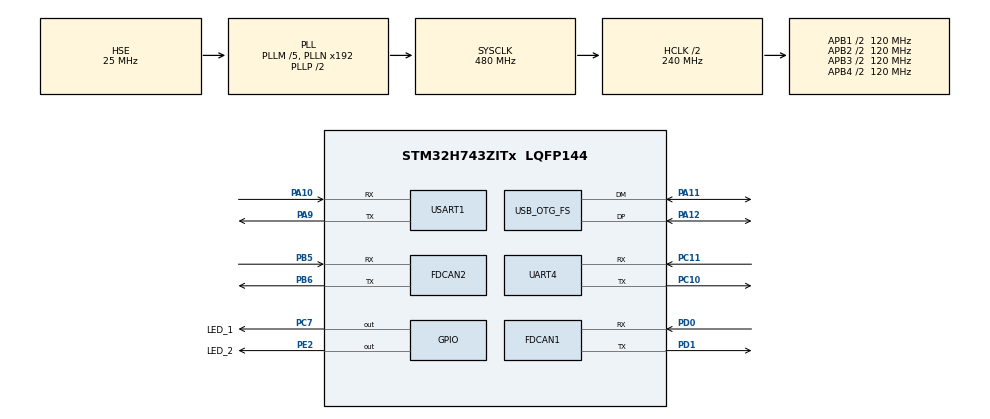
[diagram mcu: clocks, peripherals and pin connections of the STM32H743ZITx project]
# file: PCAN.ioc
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CORTEX_M7.CPU_DCache=Enabled
CORTEX_M7.CPU_ICache=Enabled
CORTEX_M7.MPU_Control=MPU_PRIVILEGED_DEFAULT
CORTEX_M7.default_mode_Activation=0
FDCAN1.CalculateBaudRateNominal=2500000
FDCAN1.CalculateTimeBitNominal=400
FDCAN1.CalculateTimeQuantumNominal=133.33333333333334
FDCAN1.TxBuffersNbr=32
FDCAN2.CalculateBaudRateNominal=2500000
FDCAN2.CalculateTimeBitNominal=400
FDCAN2.CalculateTimeQuantumNominal=133.33333333333334
FDCAN2.TxBuffersNbr=32
Mcu.Family=STM32H7
Mcu.Name=STM32H743ZITx
Mcu.Package=LQFP144
NVIC.OTG_FS_IRQn=true\:0\:0\:false\:false\:true\:false\:true\:true
NVIC.PriorityGroup=NVIC_PRIORITYGROUP_4
PA10.Mode=Asynchronous
PA10.Signal=USART1_RX
PA11.Mode=Device_Only
PA11.Signal=USB_OTG_FS_DM
PA12.Mode=Device_Only
PA12.Signal=USB_OTG_FS_DP
PA13\ (JTMS/SWDIO).Mode=Serial_Wire
PA13\ (JTMS/SWDIO).Signal=DEBUG_JTMS-SWDIO
PA14\ (JTCK/SWCLK).Mode=Serial_Wire
PA14\ (JTCK/SWCLK).Signal=DEBUG_JTCK-SWCLK
PA9.Mode=Asynchronous
PA9.Signal=USART1_TX
PB5.Mode=FDCAN_Activate
PB5.Signal=FDCAN2_RX
PB6.Mode=FDCAN_Activate
PB6.Signal=FDCAN2_TX
PC10.Mode=Asynchronous
PC10.Signal=UART4_TX
PC11.Mode=Asynchronous
PC11.Signal=UART4_RX
PC7.GPIO_Label=LED_1
PC7.Signal=GPIO_Output
PD0.Mode=FDCAN_Activate
PD0.Signal=FDCAN1_RX
PD1.Mode=FDCAN_Activate
PD1.Signal=FDCAN1_TX
PE2.GPIO_Label=LED_2
PE2.Signal=GPIO_Output
PH0-OSC_IN\ (PH0).Mode=HSE-External-Oscillator
PH0-OSC_IN\ (PH0).Signal=RCC_OSC_IN
PH1-OSC_OUT\ (PH1).Mode=HSE-External-Oscillator
PH1-OSC_OUT\ (PH1).Signal=RCC_OSC_OUT
ProjectManager.HeapSize=0x200
ProjectManager.StackSize=0x400
ProjectManager.TargetToolchain=CMake
RCC.ADCFreq_Value=50390625
RCC.APB1Freq_Value=120000000
RCC.APB2Freq_Value=120000000
RCC.APB3Freq_Value=120000000
RCC.APB4Freq_Value=120000000
RCC.CortexFreq_Value=480000000
RCC.D1PPRE=RCC_APB3_DIV2
RCC.D2PPRE1=RCC_APB1_DIV2
RCC.D2PPRE2=RCC_APB2_DIV2
RCC.D3PPRE=RCC_APB4_DIV2
RCC.DIVM1=5
RCC.DIVN1=192
RCC.DIVQ1=8
RCC.HCLKFreq_Value=240000000
RCC.HPRE=RCC_HCLK_DIV2
RCC.PLLFRACN=0
RCC.PLLSourceVirtual=RCC_PLLSOURCE_HSE
RCC.SYSCLKFreq_VALUE=480000000
RCC.SYSCLKSource=RCC_SYSCLKSOURCE_PLLCLK
RCC.USBCLockSelection=RCC_USBCLKSOURCE_HSI48
RCC.USBFreq_Value=48000000
TIM2.Prescaler=240-1
USART1.VirtualMode-Asynchronous=VM_ASYNC
USB_DEVICE.CLASS_NAME_FS=CUSTOM_HID
USB_DEVICE.VirtualMode-CUSTOM_HID_FS=CustomHid
USB_DEVICE.VirtualModeFS=Custom_Hid_FS
USB_OTG_FS.VirtualMode=Device_Only
VP_MEMORYMAP_VS_MEMORYMAP.Mode=CurAppReg
VP_TIM2_VS_ClockSourceINT.Mode=Internal
VP_USB_DEVICE_VS_USB_DEVICE_CUSTOM_HID_FS.Mode=CUSTOM_HID_FS
board=custom

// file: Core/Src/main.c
/* USER CODE BEGIN Header */
/**
 ******************************************************************************
 * @file           : main.c
 * @brief          : Main program body
 ******************************************************************************
 * @attention
 *
 * Copyright (c) 2026 STMicroelectronics.
 * All rights reserved.
 *
 * This software is licensed under terms that can be found in the LICENSE file
 * in the root directory of this software component.
 * If no LICENSE file comes with this software, it is provided AS-IS.
 *
 ******************************************************************************
 */
/* USER CODE END Header */
#include "main.h"
#include "fdcan.h"
#include "gpio.h"
#include "pcan_usb.h"
#include "tim.h"
#include "usart.h"
#include "usb_device.h"

void SystemClock_Config(void);
static void MPU_Config(void);

/* USER CODE BEGIN 0 */
#include "pcan_test.h"
#include "pcan_usb.h"
#include "pcanpro_can.h"
#include "pcanpro_led.h"
#include "pcanpro_protocol.h"
#include "pcanpro_timestamp.h"
#include "pcanpro_usbd.h"
#include <stdio.h>
#include <string.h>

extern UART_HandleTypeDef huart1;

int __io_putchar(int ch) {
  HAL_UART_Transmit(&huart1, (uint8_t *)&ch, 1, 10);
  return ch;
}

// Wrapper for SystemClock_Config
void pcan_clock_config(void) { SystemClock_Config(); }

// Wrapper for IO/Peripheral Config
void pcan_io_config(void) {
  /* Initialize all configured peripherals */
  MX_GPIO_Init();
  MX_FDCAN1_Init();
  MX_FDCAN2_Init();
  MX_UART4_Init();
  MX_USART1_UART_Init();
  MX_TIM2_Init();
}
/* USER CODE END 0 */

int main(void) {

  /* MPU Configuration--------------------------------------------------------*/
  // MPU_Config();

  /* Enable the CPU Cache */
  SCB_EnableICache();
  // SCB_EnableDCache(); // Disabled for USB stability during debug

  /* Reset of all peripherals, Initializes the Flash interface and the Systick.
   */
  HAL_Init();

  pcan_clock_config();

  pcan_io_config();

  /* USER CODE BEGIN 2 */
  printf("\r\n=== PCAN-USB Pro FD Emulator (Matches Original) ===\r\n");

  pcan_timestamp_init();

  pcan_led_init();
  pcan_led_set_mode(LED_STAT, LED_MODE_BLINK_FAST, 0xFFFFFFFF);

  pcan_protocol_init();
  pcan_usb_device_init();

  // Note: CAN initialization is handled by pcan_protocol_init()
  // which sets up filters and RX/TX callbacks properly
#if PCAN_SUPPORTS_FD
  printf("Mode: CAN-FD Ready\r\n");
#else
  printf("Mode: Classic CAN Ready\r\n");
#endif

  // Initialize test module for periodic CAN message transmission
  pcan_test_init();

  /* USER CODE END 2 */

  /* Infinite loop */
  for (;;) {

    /* USER CODE BEGIN 3 */
    pcan_usb_device_poll();
    pcan_can_poll();
    pcan_test_poll();     // Add test messages to buffer FIRST
    pcan_protocol_poll(); // Then flush the buffers to USB
    pcan_led_poll();
  }
  /* USER CODE END 3 */
}

void SystemClock_Config(void) {
  RCC_OscInitTypeDef RCC_OscInitStruct = {0};
  RCC_ClkInitTypeDef RCC_ClkInitStruct = {0};

  /** Supply configuration update enable
   */
  HAL_PWREx_ConfigSupply(PWR_LDO_SUPPLY);

  /** Configure the main internal regulator output voltage
   */
  __HAL_PWR_VOLTAGESCALING_CONFIG(PWR_REGULATOR_VOLTAGE_SCALE0);

  while (!__HAL_PWR_GET_FLAG(PWR_FLAG_VOSRDY)) {
  }

  /** Initializes the RCC Oscillators according to the specified parameters
   * in the RCC_OscInitTypeDef structure.
   */
  RCC_OscInitStruct.OscillatorType =
      RCC_OSCILLATORTYPE_HSI48 | RCC_OSCILLATORTYPE_HSE;
  RCC_OscInitStruct.HSEState = RCC_HSE_ON;
  RCC_OscInitStruct.HSI48State = RCC_HSI48_ON;
  RCC_OscInitStruct.PLL.PLLState = RCC_PLL_ON;
  RCC_OscInitStruct.PLL.PLLSource = RCC_PLLSOURCE_HSE;
  RCC_OscInitStruct.PLL.PLLM = 5;
  RCC_OscInitStruct.PLL.PLLN = 192;
  RCC_OscInitStruct.PLL.PLLP = 2;
  RCC_OscInitStruct.PLL.PLLQ = 8;
  RCC_OscInitStruct.PLL.PLLR = 2;
  RCC_OscInitStruct.PLL.PLLRGE = RCC_PLL1VCIRANGE_2;
  RCC_OscInitStruct.PLL.PLLVCOSEL = RCC_PLL1VCOWIDE;
  RCC_OscInitStruct.PLL.PLLFRACN = 0;
  if (HAL_RCC_OscConfig(&RCC_OscInitStruct) != HAL_OK) {
    Error_Handler();
  }

  /** Initializes the CPU, AHB and APB buses clocks
   */
  RCC_ClkInitStruct.ClockType = RCC_CLOCKTYPE_HCLK | RCC_CLOCKTYPE_SYSCLK |
                                RCC_CLOCKTYPE_PCLK1 | RCC_CLOCKTYPE_PCLK2 |
                                RCC_CLOCKTYPE_D3PCLK1 | RCC_CLOCKTYPE_D1PCLK1;
  RCC_ClkInitStruct.SYSCLKSource = RCC_SYSCLKSOURCE_PLLCLK;
  RCC_ClkInitStruct.SYSCLKDivider = RCC_SYSCLK_DIV1;
  RCC_ClkInitStruct.AHBCLKDivider = RCC_HCLK_DIV2;
  RCC_ClkInitStruct.APB3CLKDivider = RCC_APB3_DIV2;
  RCC_ClkInitStruct.APB1CLKDivider = RCC_APB1_DIV2;
  RCC_ClkInitStruct.APB2CLKDivider = RCC_APB2_DIV2;
  RCC_ClkInitStruct.APB4CLKDivider = RCC_APB4_DIV2;

  if (HAL_RCC_ClockConfig(&RCC_ClkInitStruct, FLASH_LATENCY_4) != HAL_OK) {
    Error_Handler();
  }
}

/* MPU Configuration */

void MPU_Config(void) {

  /* Disables the MPU */
  HAL_MPU_Disable();

  MPU_Region_InitTypeDef MPU_InitStruct = {0};

  /* Configure the MPU attributes for AXI SRAM (RAM_D1) as Non-Cacheable for USB
     DMA Address: 0x24000000, Size: 512KB
  */
  MPU_InitStruct.Enable = MPU_REGION_ENABLE;
  MPU_InitStruct.Number = MPU_REGION_NUMBER0;
  MPU_InitStruct.BaseAddress = 0x24000000;
  MPU_InitStruct.Size = MPU_REGION_SIZE_512KB;
  MPU_InitStruct.SubRegionDisable = 0x0;
  MPU_InitStruct.TypeExtField = MPU_TEX_LEVEL1;
  MPU_InitStruct.AccessPermission = MPU_REGION_FULL_ACCESS;
  MPU_InitStruct.DisableExec = MPU_INSTRUCTION_ACCESS_ENABLE;
  MPU_InitStruct.IsShareable = MPU_ACCESS_SHAREABLE;
  MPU_InitStruct.IsCacheable = MPU_ACCESS_NOT_CACHEABLE;
  MPU_InitStruct.IsBufferable = MPU_ACCESS_NOT_BUFFERABLE;

  HAL_MPU_ConfigRegion(&MPU_InitStruct);

  /* Enables the MPU */
  HAL_MPU_Enable(MPU_PRIVILEGED_DEFAULT);
}

void Error_Handler(void) {
  __disable_irq();
  while (1) {
  }
}
#ifdef USE_FULL_ASSERT
/**
 * @brief  Reports the name of the source file and the source line number
 *         where the assert_param error has occurred.
 * @param  file: pointer to the source file name
 * @param  line: assert_param error line source number
 * @retval None
 */
void assert_failed(uint8_t *file, uint32_t line) {
  /* USER CODE BEGIN 6 */
  /* User can add his own implementation to report the file name and line
     number, ex: printf("Wrong parameters value: file %s on line %d\r\n", file,
     line) */
  /* USER CODE END 6 */
}
#endif /* USE_FULL_ASSERT */
